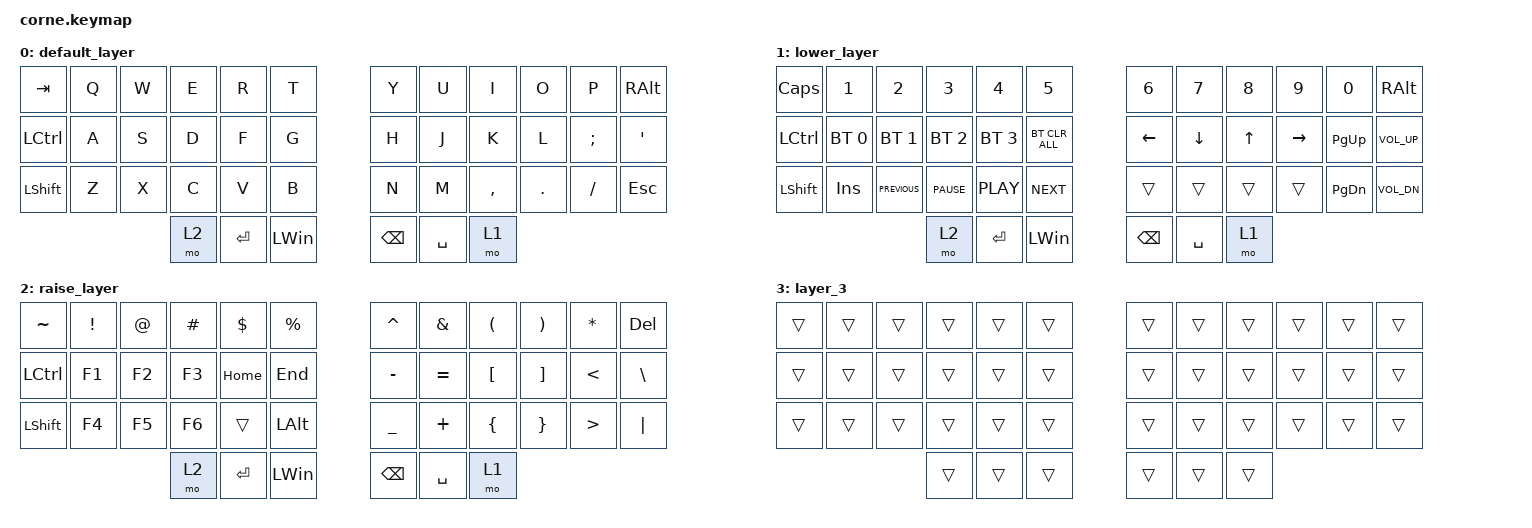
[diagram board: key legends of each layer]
/*
 * Copyright (c) 2020 The ZMK Contributors
 *
 * SPDX-License-Identifier: MIT
 */

#include <behaviors.dtsi>
#include <dt-bindings/zmk/bt.h>
#include <dt-bindings/zmk/keys.h>

/ {
    keymap {
        compatible = "zmk,keymap";

        default_layer {
            // -----------------------------------------------------------------------------------------
            // |  TAB |  Q  |  W  |  E  |  R  |  T  |   |  Y  |  U   |  I  |  O  |  P  | BSPC |
            // | CTRL |  A  |  S  |  D  |  F  |  G  |   |  H  |  J   |  K  |  L  |  ;  |  '   |
            // | SHFT |  Z  |  X  |  C  |  V  |  B  |   |  N  |  M   |  ,  |  .  |  /  | ESC  |
            //                    | GUI | LWR | SPC |   | ENT | RSE  | ALT |

            bindings = <
&kp TAB         &kp Q  &kp W  &kp E  &kp R       &kp T           &kp Y          &kp U      &kp I      &kp O    &kp P     &kp RIGHT_ALT
&kp LCTRL       &kp A  &kp S  &kp D  &kp F       &kp G           &kp H          &kp J      &kp K      &kp L    &kp SEMI  &kp SQT
&kp LEFT_SHIFT  &kp Z  &kp X  &kp C  &kp V       &kp B           &kp N          &kp M      &kp COMMA  &kp DOT  &kp FSLH  &kp ESC
                              &mo 2  &kp RETURN  &kp LEFT_WIN    &kp BACKSPACE  &kp SPACE  &mo 1
            >;
        };

        lower_layer {
            // -----------------------------------------------------------------------------------------
            // |  TAB |  1  |  2  |  3  |  4  |  5  |   |  6  |  7  |  8  |  9  |  0  | BSPC |
            // | BTCLR| BT1 | BT2 | BT3 | BT4 | BT5 |   | LFT | DWN |  UP | RGT |     |      |
            // | SHFT |     |     |     |     |     |   |     |     |     |     |     |      |
            //                    | GUI |     | SPC |   | ENT |     | ALT |

            bindings = <
&kp CAPSLOCK      &kp N1        &kp N2          &kp N3        &kp N4        &kp N5            &kp N6         &kp N7     &kp N8  &kp N9     &kp N0         &kp RIGHT_ALT
&kp LEFT_CONTROL  &bt BT_SEL 0  &bt BT_SEL 1    &bt BT_SEL 2  &bt BT_SEL 3  &bt BT_CLR_ALL    &kp LEFT       &kp DOWN   &kp UP  &kp RIGHT  &kp PAGE_UP    &kp C_VOLUME_UP
&kp LSHFT         &kp INSERT    &kp C_PREVIOUS  &kp C_PAUSE   &kp C_PLAY    &kp C_NEXT        &trans         &trans     &trans  &trans     &kp PAGE_DOWN  &kp C_VOL_DN
                                                &mo 2         &kp RETURN    &kp LEFT_WIN      &kp BACKSPACE  &kp SPACE  &mo 1
            >;
        };

        raise_layer {
            // -----------------------------------------------------------------------------------------
            // |  TAB |  !  |  @  |  #  |  $  |  %  |   |  ^  |  &  |  *  |  (  |  )  | BSPC |
            // | CTRL |     |     |     |     |     |   |  -  |  =  |  [  |  ]  |  \  |  `   |
            // | SHFT |     |     |     |     |     |   |  _  |  +  |  {  |  }  | "|" |  ~   |
            //                    | GUI |     | SPC |   | ENT |     | ALT |

            bindings = <
&kp TILDE  &kp EXCL  &kp AT  &kp HASH  &kp DLLR  &kp PRCNT       &kp CARET      &kp AMPS   &kp LEFT_PARENTHESIS  &kp RIGHT_PARENTHESIS  &kp ASTERISK      &kp DELETE
&kp LCTRL  &kp F1    &kp F2  &kp F3    &kp HOME  &kp END         &kp MINUS      &kp EQUAL  &kp LEFT_BRACKET      &kp RIGHT_BRACKET      &kp LESS_THAN     &kp BACKSLASH
&kp LSHFT  &kp F4    &kp F5  &kp F6    &trans    &kp LEFT_ALT    &kp UNDER      &kp PLUS   &kp LEFT_BRACE        &kp RIGHT_BRACE        &kp GREATER_THAN  &kp PIPE
                             &mo 2     &kp RET   &kp LEFT_WIN    &kp BACKSPACE  &kp SPACE  &mo 1
            >;
        };

        layer_3 {
            bindings = <
&trans  &trans  &trans  &trans  &trans  &trans    &trans  &trans  &trans  &trans  &trans  &trans
&trans  &trans  &trans  &trans  &trans  &trans    &trans  &trans  &trans  &trans  &trans  &trans
&trans  &trans  &trans  &trans  &trans  &trans    &trans  &trans  &trans  &trans  &trans  &trans
                        &trans  &trans  &trans    &trans  &trans  &trans
            >;
        };
    };
};
